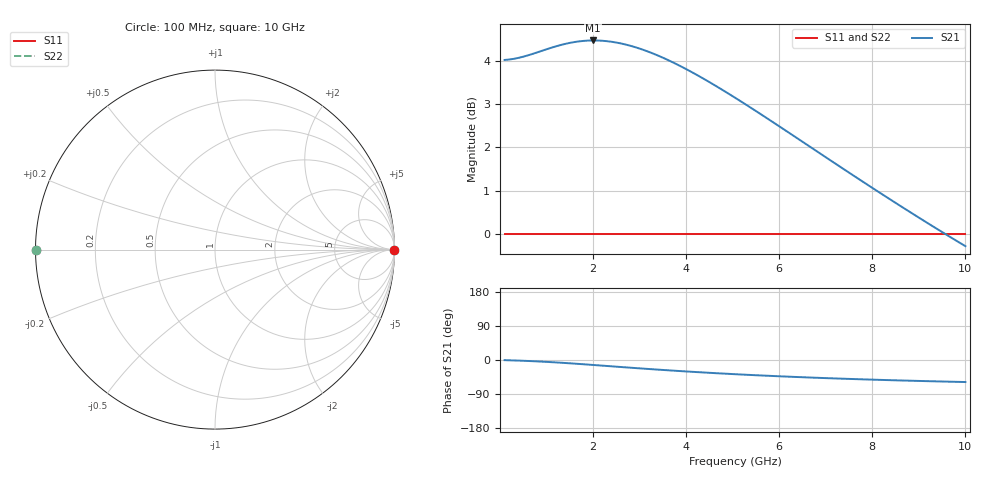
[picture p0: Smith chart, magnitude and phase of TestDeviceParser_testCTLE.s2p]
! File created by SignalIntegrity v1.1.14: Signal and Power Integrity Tools
! https://github.com/TeledyneLeCroy/SignalIntegrity
# MHz S MA R 50.0
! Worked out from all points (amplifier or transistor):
!   100 points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, 100 MHz to 10 GHz, reference 50 ohm
!   highest |S21| = 4.5 dB at 2 GHz (marker M1)
!   |S21| within 3 dB of that: start of sweep to 7.421 GHz
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100  1 0.0  1.589 -0.4  0 0.0  1 180.0
500  1 0.0  1.603 -2.1  0 0.0  1 180.0
900  1 0.0  1.628 -4.3  0 0.0  1 180.0
1100  1 0.0  1.642 -5.6  0 0.0  1 180.0
1400  1 0.0  1.659 -7.9  0 0.0  1 180.0
1800  1 0.0  1.672 -11.3  0 0.0  1 180.0
2000  1 0.0  1.674 -13.1  0 0.0  1 180.0
2300  1 0.0  1.671 -15.8  0 0.0  1 180.0
2600  1 0.0  1.661 -18.5  0 0.0  1 180.0
3000  1 0.0  1.638 -22.0  0 0.0  1 180.0
3400  1 0.0  1.607 -25.4  0 0.0  1 180.0
3800  1 0.0  1.571 -28.7  0 0.0  1 180.0
4200  1 0.0  1.53 -31.7  0 0.0  1 180.0
4600  1 0.0  1.487 -34.5  0 0.0  1 180.0
5100  1 0.0  1.432 -37.8  0 0.0  1 180.0
5800  1 0.0  1.354 -41.9  0 0.0  1 180.0
6200  1 0.0  1.31 -44.0  0 0.0  1 180.0
6700  1 0.0  1.257 -46.4  0 0.0  1 180.0
7500  1 0.0  1.177 -49.9  0 0.0  1 180.0
8400  1 0.0  1.095 -53.3  0 0.0  1 180.0
9200  1 0.0  1.029 -55.9  0 0.0  1 180.0
10000  1 0.0  0.9681 -58.2  0 0.0  1 180.0
